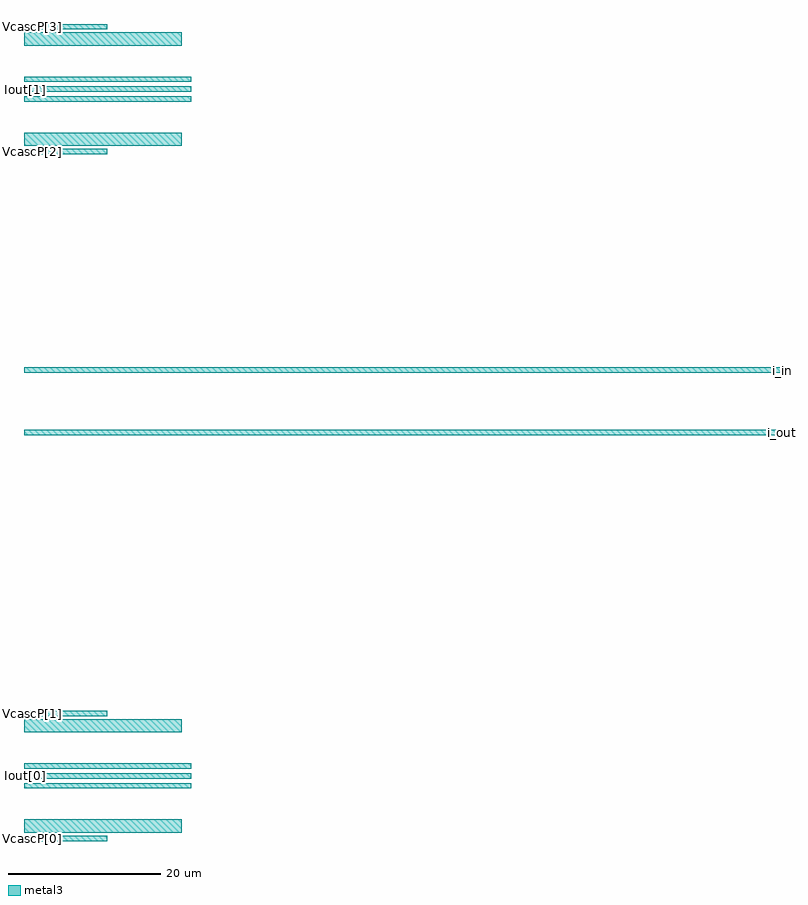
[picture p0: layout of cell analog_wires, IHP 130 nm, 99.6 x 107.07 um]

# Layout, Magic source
magic
tech ihp-sg13g2
magscale 1 2
<< metal3 >>
rect 0 29786 2182 29926
rect 0 29360 4140 29706
rect 0 28409 4382 28549
rect 0 28149 4382 28289
rect 0 27889 4382 28029
rect 0 26732 4140 27078
rect 0 26512 2182 26652
rect 0 20786 19920 20926
rect 0 19149 19920 19289
rect 0 11786 2182 11926
rect 0 11360 4140 11706
rect 0 10409 4382 10549
rect 0 10149 4382 10289
rect 0 9889 4382 10029
rect 0 8732 4140 9078
rect 0 8512 2182 8652
<< labels >>
flabel metal3 s 0 8512 80 8652 0 FreeSans 800 0 0 0 VcascP[0]
port 2 nsew
flabel metal3 s 0 11786 80 11926 0 FreeSans 800 0 0 0 VcascP[1]
port 3 nsew
flabel metal3 s 0 10149 80 10289 0 FreeSans 800 0 0 0 Iout[0]
port 4 nsew
flabel metal3 s 0 8732 80 9078 0 FreeSans 800 0 0 0 VDDA[0]
port 5 nsew
flabel metal3 s 0 11360 80 11706 0 FreeSans 800 0 0 0 VDDA[1]
port 6 nsew
flabel metal3 s 0 10409 80 10549 0 FreeSans 800 0 0 0 VbiasP[1]
port 7 nsew
flabel metal3 s 0 9889 80 10029 0 FreeSans 800 0 0 0 VbiasP[0]
port 8 nsew
flabel metal3 s 0 26512 80 26652 0 FreeSans 800 0 0 0 VcascP[2]
port 9 nsew
flabel metal3 s 0 29786 80 29926 0 FreeSans 800 0 0 0 VcascP[3]
port 10 nsew
flabel metal3 s 0 28149 80 28289 0 FreeSans 800 0 0 0 Iout[1]
port 11 nsew
flabel metal3 s 0 26732 80 27078 0 FreeSans 800 0 0 0 VDDA[2]
port 12 nsew
flabel metal3 s 0 29360 80 29706 0 FreeSans 800 0 0 0 VDDA[3]
port 13 nsew
flabel metal3 s 0 28409 80 28549 0 FreeSans 800 0 0 0 VbiasP[3]
port 14 nsew
flabel metal3 s 0 27889 80 28029 0 FreeSans 800 0 0 0 VbiasP[2]
port 15 nsew
flabel metal3 s 19840 20786 19920 20926 0 FreeSans 800 0 0 0 i_in
port 16 nsew
flabel metal3 s 19840 19149 19920 19289 0 FreeSans 800 0 0 0 i_out
port 17 nsew
<< properties >>
string FIXED_BBOX 0 0 19920 37600
string path 0.000 104.280 99.600 104.280 
<< end >>
